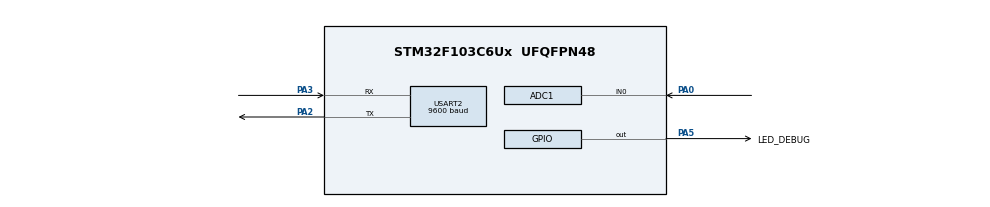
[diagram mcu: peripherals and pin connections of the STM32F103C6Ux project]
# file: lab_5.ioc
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ADC1.Channel-0\#ChannelRegularConversion=ADC_CHANNEL_0
ADC1.ContinuousConvMode=ENABLE
ADC1.NbrOfConversionFlag=1
ADC1.Rank-0\#ChannelRegularConversion=1
ADC1.SamplingTime-0\#ChannelRegularConversion=ADC_SAMPLETIME_1CYCLE_5
ADC1.master=1
Mcu.Family=STM32F1
Mcu.Name=STM32F103C6Ux
Mcu.Package=UFQFPN48
NVIC.PriorityGroup=NVIC_PRIORITYGROUP_4
NVIC.TIM2_IRQn=true\:0\:0\:false\:false\:true\:true\:true\:true
NVIC.USART2_IRQn=true\:0\:0\:false\:false\:true\:true\:true\:true
PA0-WKUP.Signal=ADCx_IN0
PA2.Mode=Asynchronous
PA2.Signal=USART2_TX
PA3.Mode=Asynchronous
PA3.Signal=USART2_RX
PA5.GPIO_Label=LED_DEBUG
PA5.Signal=GPIO_Output
ProjectManager.HeapSize=0x200
ProjectManager.StackSize=0x400
ProjectManager.TargetToolchain=STM32CubeIDE
RCC.APB1Freq_Value=8000000
RCC.APB2Freq_Value=8000000
SH.ADCx_IN0.0=ADC1_IN0,IN0
TIM2.Period=9
TIM2.Prescaler=7999
USART2.BaudRate=9600
USART2.VirtualMode=VM_ASYNC
VP_SYS_VS_ND.Mode=No_Debug
VP_TIM2_VS_ClockSourceINT.Mode=Internal
board=custom

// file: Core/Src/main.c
/* USER CODE BEGIN Header */
/**
 ******************************************************************************
 * @file           : main.c
 * @brief          : Main program body
 ******************************************************************************
 * @attention
 *
 * Copyright (c) 2025 STMicroelectronics.
 * All rights reserved.
 *
 * This software is licensed under terms that can be found in the LICENSE file
 * in the root directory of this software component.
 * If no LICENSE file comes with this software, it is provided AS-IS.
 *
 ******************************************************************************
 */
/* USER CODE END Header */
#include "main.h"
#include "adc.h"
#include "tim.h"
#include "usart.h"
#include "gpio.h"

/* USER CODE BEGIN Includes */
#include "stdio.h"
#include "string.h"
#include "software_timer.h"
#include "fsm.h"
/* USER CODE END Includes */

void SystemClock_Config(void);
/* USER CODE BEGIN PFP */
void system_init();
/* USER CODE END PFP */

int main(void) {

	/* MCU Configuration--------------------------------------------------------*/

	/* Reset of all peripherals, Initializes the Flash interface and the Systick. */
	HAL_Init();

	/* Configure the system clock */
	SystemClock_Config();

	/* Initialize all configured peripherals */
	MX_GPIO_Init();
	MX_ADC1_Init();
	MX_USART2_UART_Init();
	MX_TIM2_Init();
	/* USER CODE BEGIN 2 */
	system_init();
	timer_set(0, 500);
	/* USER CODE END 2 */

	/* Infinite loop */
	while (1) {

		/* USER CODE BEGIN 3 */
		if (timer_flag) {
			timer_flag = 0;
			timer_run();
		}

		if (timer_is_expired(0)) {
			HAL_GPIO_TogglePin(LED_DEBUG_GPIO_Port, LED_DEBUG_Pin);
			timer_set(0, 500);
		}

		if (buffer_flag == 1) {
			command_parser_fsm();
			buffer_flag = 0;
		}

		uart_communiation_fsm();
		__WFI();
	}
	/* USER CODE END 3 */
}

void SystemClock_Config(void) {
	RCC_OscInitTypeDef RCC_OscInitStruct = { 0 };
	RCC_ClkInitTypeDef RCC_ClkInitStruct = { 0 };
	RCC_PeriphCLKInitTypeDef PeriphClkInit = { 0 };

	/** Initializes the RCC Oscillators according to the specified parameters
	 * in the RCC_OscInitTypeDef structure.
	 */
	RCC_OscInitStruct.OscillatorType = RCC_OSCILLATORTYPE_HSI;
	RCC_OscInitStruct.HSIState = RCC_HSI_ON;
	RCC_OscInitStruct.HSICalibrationValue = RCC_HSICALIBRATION_DEFAULT;
	RCC_OscInitStruct.PLL.PLLState = RCC_PLL_NONE;
	if (HAL_RCC_OscConfig(&RCC_OscInitStruct) != HAL_OK) {
		Error_Handler();
	}

	/** Initializes the CPU, AHB and APB buses clocks
	 */
	RCC_ClkInitStruct.ClockType = RCC_CLOCKTYPE_HCLK | RCC_CLOCKTYPE_SYSCLK
			| RCC_CLOCKTYPE_PCLK1 | RCC_CLOCKTYPE_PCLK2;
	RCC_ClkInitStruct.SYSCLKSource = RCC_SYSCLKSOURCE_HSI;
	RCC_ClkInitStruct.AHBCLKDivider = RCC_SYSCLK_DIV1;
	RCC_ClkInitStruct.APB1CLKDivider = RCC_HCLK_DIV1;
	RCC_ClkInitStruct.APB2CLKDivider = RCC_HCLK_DIV1;

	if (HAL_RCC_ClockConfig(&RCC_ClkInitStruct, FLASH_LATENCY_0) != HAL_OK) {
		Error_Handler();
	}
	PeriphClkInit.PeriphClockSelection = RCC_PERIPHCLK_ADC;
	PeriphClkInit.AdcClockSelection = RCC_ADCPCLK2_DIV2;
	if (HAL_RCCEx_PeriphCLKConfig(&PeriphClkInit) != HAL_OK) {
		Error_Handler();
	}
}

/* USER CODE BEGIN 4 */
void system_init() {
	uart_init();
	HAL_ADC_Start(&hadc1);
	timer_init();
}
/* USER CODE END 4 */

void Error_Handler(void) {
	__disable_irq();
	while (1) {
	}
}
